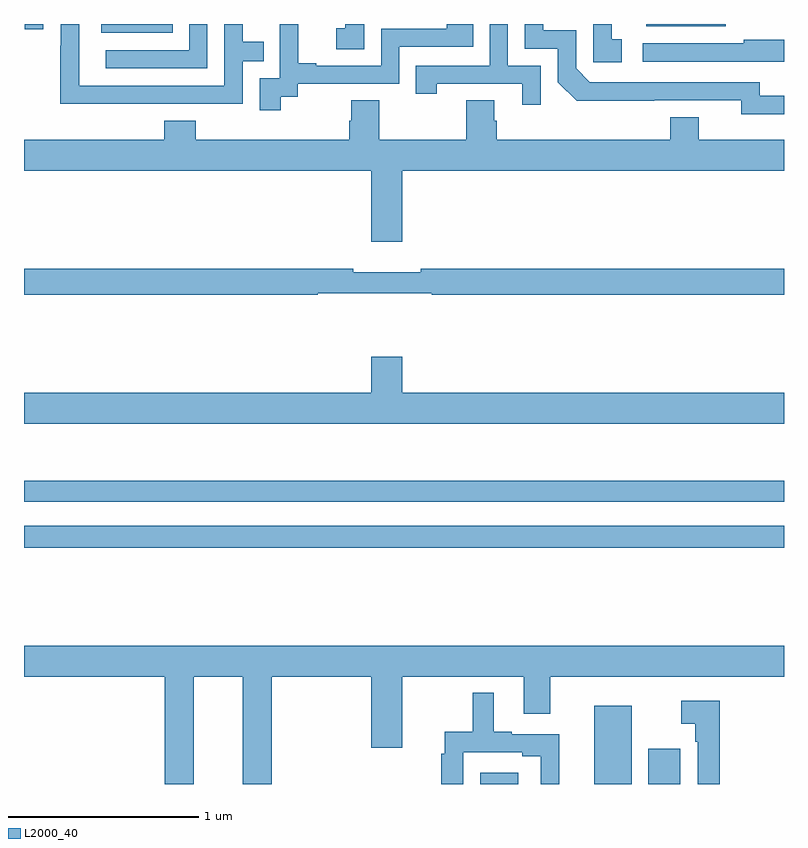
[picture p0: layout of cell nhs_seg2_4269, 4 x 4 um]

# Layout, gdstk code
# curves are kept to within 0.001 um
import gdstk
lib = gdstk.Library(unit=1e-6, precision=1e-09)
def R(c, l, rs):  # rectangles x0, y0, x1, y1
    for r in rs: c.add(gdstk.rectangle(r[:2], r[2:], *l))
def P(c, l, *ps):  # polygons
    for p in ps: c.add(gdstk.Polygon(p, *l))
L2000_40 = (2000, 40)

nhs_seg2_4269 = lib.new_cell('nhs_seg2_4269')
R(nhs_seg2_4269, L2000_40, [(345.401,585.8,345.601,585.859), (346.001,585.8,346.198,586.213), (346.286,585.8,346.453,585.985), (343,587.044,347,587.16), (343,587.286,347,587.395), (343.406,589.754,343.784,589.8), (343.005,589.773,343.101,589.8), (346.274,589.787,346.693,589.8)])
P(nhs_seg2_4269, L2000_40, [(345.72,589.581),(345.546,589.581),(345.546,589.8),(345.45,589.8),(345.45,589.581),(345.061,589.581),(345.061,589.434),(345.172,589.434),(345.172,589.485),(345.623,589.485),(345.623,589.374),(345.72,589.374)],
  [(347,589.422),(346.872,589.422),(346.872,589.494),(345.978,589.494),(345.906,589.566),(345.906,589.767),(345.733,589.767),(345.733,589.8),(345.636,589.8),(345.636,589.671),(345.81,589.671),(345.81,589.494),(345.908,589.397),(346.776,589.398),(346.776,589.325),(347,589.325)],
  [(344.35,589.417),(344.442,589.417),(344.442,589.485),(344.976,589.485),(344.976,589.68),(345.365,589.68),(345.365,589.8),(345.225,589.8),(345.225,589.776),(344.88,589.776),(344.88,589.581),(344.539,589.581),(344.539,589.594),(344.444,589.594),(344.444,589.8),(344.345,589.8),(344.345,589.745),(344.346,589.745),(344.346,589.515),(344.241,589.515),(344.241,589.347),(344.35,589.347)],
  [(343.965,589.8),(343.869,589.8),(343.869,589.662),(343.431,589.662),(343.431,589.566),(343.965,589.566)],
  [(344.79,589.8),(344.692,589.8),(344.692,589.777),(344.643,589.777),(344.643,589.668),(344.79,589.668)],
  [(343.655,589.38),(344.151,589.38),(344.151,589.605),(344.261,589.605),(344.261,589.706),(344.151,589.706),(344.151,589.8),(344.055,589.8),(344.055,589.476),(343.29,589.476),(343.29,589.8),(343.194,589.8),(343.194,589.685),(343.192,589.685),(343.192,589.379),(343.655,589.379)],
  [(346.147,589.719),(346.094,589.719),(346.094,589.8),(345.996,589.8),(345.996,589.599),(346.147,589.599)],
  [(347,589.718),(346.789,589.718),(346.789,589.698),(346.257,589.698),(346.257,589.602),(347,589.602)],
  [(344.992,589.028),(347,589.028),(347,589.192),(346.552,589.192),(346.552,589.309),(346.4,589.309),(346.4,589.192),(345.488,589.192),(345.488,589.29),(345.475,589.29),(345.475,589.4),(345.328,589.4),(345.328,589.192),(344.871,589.192),(344.871,589.4),(344.723,589.4),(344.723,589.29),(344.711,589.29),(344.711,589.192),(343.904,589.192),(343.904,589.291),(343.739,589.291),(343.739,589.192),(343,589.192),(343,589.028),(344.828,589.028),(344.828,588.654),(344.992,588.654)],
  [(344.545,588.384),(345.145,588.384),(345.145,588.376),(347,588.376),(347,588.512),(345.088,588.512),(345.088,588.493),(344.732,588.493),(344.732,588.512),(343,588.512),(343,588.376),(344.545,588.376)],
  [(347,587.86),(344.992,587.86),(344.992,588.049),(344.828,588.049),(344.828,587.86),(343,587.86),(343,587.696),(347,587.696)],
  [(343.894,586.364),(344.15,586.364),(344.15,585.8),(344.303,585.8),(344.303,586.364),(344.828,586.364),(344.828,585.99),(344.992,585.99),(344.992,586.364),(345.629,586.364),(345.629,586.17),(345.769,586.17),(345.769,586.364),(347,586.364),(347,586.528),(343,586.528),(343,586.364),(343.742,586.364),(343.742,585.8),(343.894,585.8)],
  [(345.312,585.966),(345.623,585.966),(345.623,585.946),(345.72,585.946),(345.72,585.8),(345.818,585.8),(345.818,586.062),(345.568,586.062),(345.568,586.075),(345.472,586.075),(345.472,586.279),(345.363,586.279),(345.363,586.075),(345.214,586.075),(345.214,585.959),(345.196,585.959),(345.196,585.8),(345.312,585.8)],
  [(346.661,586.237),(346.458,586.237),(346.458,586.118),(346.533,586.118),(346.533,586.022),(346.545,586.022),(346.545,585.8),(346.661,585.8)])

lib.write_gds('nhs_seg2_4269.gds')
